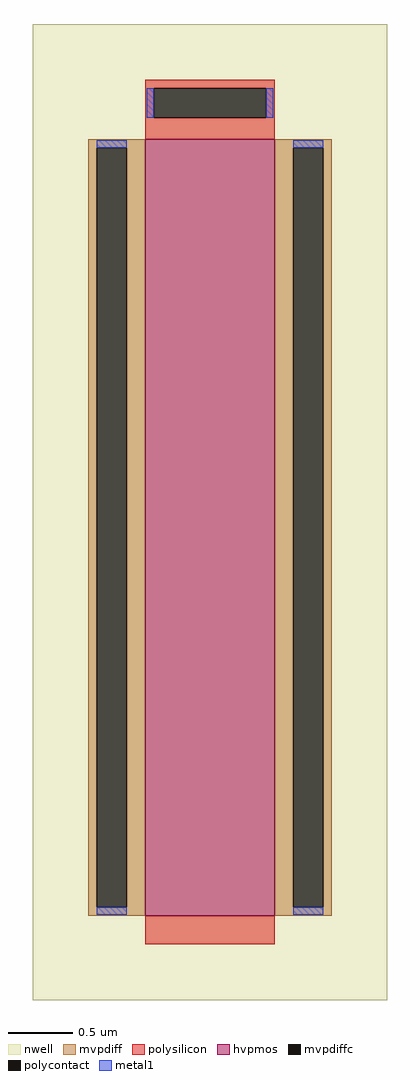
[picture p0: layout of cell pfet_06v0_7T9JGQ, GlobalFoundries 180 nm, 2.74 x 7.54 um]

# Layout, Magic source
magic
tech gf180mcuD
magscale 1 10
<< nwell >>
rect -274 -754 274 754
<< hvpmos >>
rect -100 -624 100 576
<< mvpdiff >>
rect -188 563 -100 576
rect -188 -611 -175 563
rect -129 -611 -100 563
rect -188 -624 -100 -611
rect 100 563 188 576
rect 100 -611 129 563
rect 175 -611 188 563
rect 100 -624 188 -611
<< mvpdiffc >>
rect -175 -611 -129 563
rect 129 -611 175 563
<< polysilicon >>
rect -100 655 100 668
rect -100 609 -87 655
rect 87 609 100 655
rect -100 576 100 609
rect -100 -668 100 -624
<< polycontact >>
rect -87 609 87 655
<< metal1 >>
rect -98 609 -87 655
rect 87 609 98 655
rect -175 563 -129 574
rect -175 -622 -129 -611
rect 129 563 175 574
rect 129 -622 175 -611
<< properties >>
string gencell pfet_06v0
string library gf180mcu
string parameters w 6 l 1 m 1 nf 1 diffcov 100 polycov 100 guard 0 glc 0 grc 0 gtc 0 gbc 0 tbcov 100 rlcov 100 topc 1 botc 0 poverlap 0 doverlap 1 lmin 0.55 wmin 0.3 class mosfet full_metal 0 compatible {pfet_03v3 pfet_05v0 pfet_06v0}
<< end >>
